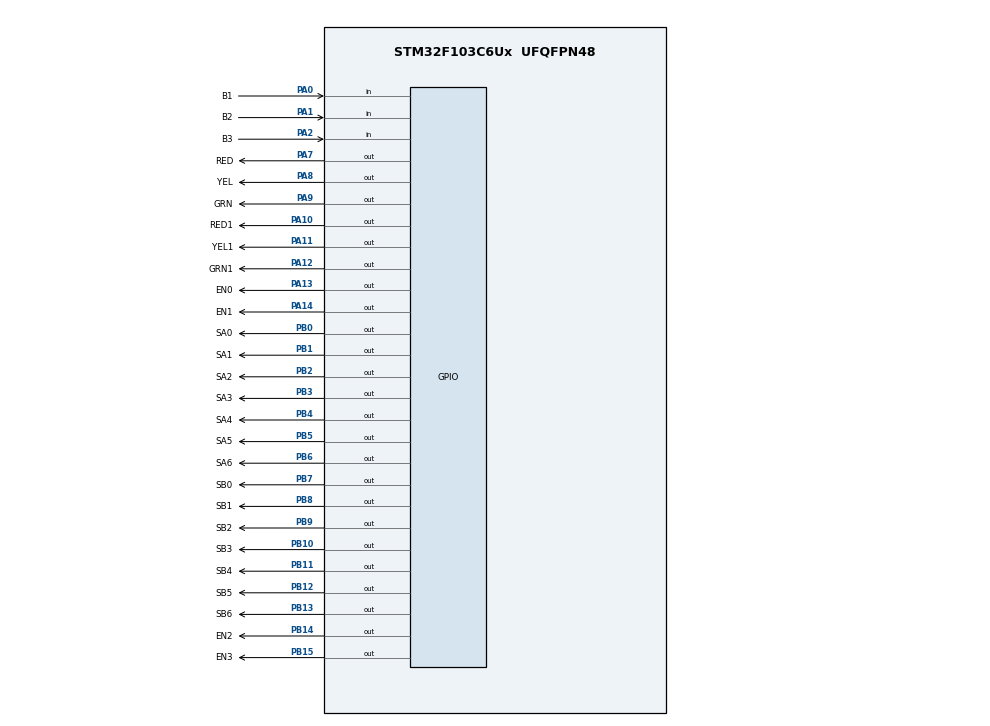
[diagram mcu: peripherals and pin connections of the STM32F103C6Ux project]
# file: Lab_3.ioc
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Mcu.Family=STM32F1
Mcu.Name=STM32F103C6Ux
Mcu.Package=UFQFPN48
NVIC.PriorityGroup=NVIC_PRIORITYGROUP_4
NVIC.TIM2_IRQn=true\:0\:0\:false\:false\:true\:true\:true
PA0-WKUP.GPIO_Label=B1
PA0-WKUP.Signal=GPIO_Input
PA1.GPIO_Label=B2
PA1.Signal=GPIO_Input
PA10.GPIO_Label=RED1
PA10.Signal=GPIO_Output
PA11.GPIO_Label=YEL1
PA11.Signal=GPIO_Output
PA12.GPIO_Label=GRN1
PA12.Signal=GPIO_Output
PA13.GPIO_Label=EN0
PA13.Signal=GPIO_Output
PA14.GPIO_Label=EN1
PA14.Signal=GPIO_Output
PA2.GPIO_Label=B3
PA2.Signal=GPIO_Input
PA7.GPIO_Label=RED
PA7.Signal=GPIO_Output
PA8.GPIO_Label=YEL
PA8.Signal=GPIO_Output
PA9.GPIO_Label=GRN
PA9.Signal=GPIO_Output
PB0.GPIO_Label=SA0
PB0.Signal=GPIO_Output
PB1.GPIO_Label=SA1
PB1.Signal=GPIO_Output
PB10.GPIO_Label=SB3
PB10.Signal=GPIO_Output
PB11.GPIO_Label=SB4
PB11.Signal=GPIO_Output
PB12.GPIO_Label=SB5
PB12.Signal=GPIO_Output
PB13.GPIO_Label=SB6
PB13.Signal=GPIO_Output
PB14.GPIO_Label=EN2
PB14.Signal=GPIO_Output
PB15.GPIO_Label=EN3
PB15.Signal=GPIO_Output
PB2.GPIO_Label=SA2
PB2.Signal=GPIO_Output
PB3.GPIO_Label=SA3
PB3.Signal=GPIO_Output
PB4.GPIO_Label=SA4
PB4.Signal=GPIO_Output
PB5.GPIO_Label=SA5
PB5.Signal=GPIO_Output
PB6.GPIO_Label=SA6
PB6.Signal=GPIO_Output
PB7.GPIO_Label=SB0
PB7.Signal=GPIO_Output
PB8.GPIO_Label=SB1
PB8.Signal=GPIO_Output
PB9.GPIO_Label=SB2
PB9.Signal=GPIO_Output
ProjectManager.HeapSize=0x200
ProjectManager.StackSize=0x400
ProjectManager.TargetToolchain=STM32CubeIDE
RCC.APB1Freq_Value=8000000
RCC.APB2Freq_Value=8000000
TIM2.Period=9
TIM2.Prescaler=7999
VP_SYS_VS_ND.Mode=No_Debug
VP_TIM2_VS_ClockSourceINT.Mode=Internal
board=custom

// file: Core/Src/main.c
/* USER CODE BEGIN Header */
/**
  ******************************************************************************
  * @file           : main.c
  * @brief          : Main program body
  ******************************************************************************
  * @attention
  *
  * <h2><center>&copy; Copyright (c) 2026 STMicroelectronics.
  * All rights reserved.</center></h2>
  *
  * This software component is licensed by ST under BSD 3-Clause license,
  * the "License"; You may not use this file except in compliance with the
  * License. You may obtain a copy of the License at:
  *                        opensource.org/licenses/BSD-3-Clause
  *
  ******************************************************************************
  */
/* USER CODE END Header */
#include "main.h"

TIM_HandleTypeDef htim2;

void SystemClock_Config(void);
static void MX_GPIO_Init(void);
static void MX_TIM2_Init(void);

/* USER CODE BEGIN 0 */
/* =====================================================================
 * 1. SOFTWARE TIMER
 *    TIMER_CYCLE = chu ky ngat TIM2 (ms). Bai 4: doi ngat chi sua dong nay.
 * ===================================================================== */
#define TIMER_CYCLE  10

#define NUM_TIMERS   4
#define TMR_SECOND   0   /* dem giay o mode 1        */
#define TMR_SCAN     1   /* quet LED 7 doan          */
#define TMR_BLINK    2   /* nhay den 2 Hz o mode 2-4 */
#define TMR_REPEAT   3   /* tu tang khi giu nut 2    */

volatile int timer_counter[NUM_TIMERS];
volatile int timer_flag[NUM_TIMERS];

void setTimer(int id, int duration) {        /* duration tinh bang ms */
    int ticks = duration / TIMER_CYCLE;
    if (ticks < 1) ticks = 1;
    timer_counter[id] = ticks;
    timer_flag[id] = 0;
}

int isTimerExpired(int id) {
    return timer_flag[id];
}

void timerRun(void) {
    for (int i = 0; i < NUM_TIMERS; i++) {
        if (timer_counter[i] > 0) {
            timer_counter[i]--;
            if (timer_counter[i] == 0) timer_flag[i] = 1;
        }
    }
}

/* =====================================================================
 * 2. DOC NUT NHAN + CHONG DOI PHIM
 *    Nut noi GND, co pull-up 10k ngoai: nhan = 0
 * ===================================================================== */
#define NUM_BUTTONS      3
#define BTN_MODE         0   /* B1 - PA0: doi mode     */
#define BTN_INC          1   /* B2 - PA1: tang gia tri */
#define BTN_SET          2   /* B3 - PA2: luu gia tri  */

#define PRESSED          GPIO_PIN_RESET
#define RELEASED         GPIO_PIN_SET
#define LONG_PRESS_TIME  (1000 / TIMER_CYCLE)   /* 1 giay */

GPIO_TypeDef *btnPort[NUM_BUTTONS] = { B1_GPIO_Port, B2_GPIO_Port, B3_GPIO_Port };
uint16_t      btnPin[NUM_BUTTONS]  = { B1_Pin,       B2_Pin,       B3_Pin };

GPIO_PinState keyReg0[NUM_BUTTONS]     = { RELEASED, RELEASED, RELEASED };
GPIO_PinState keyReg1[NUM_BUTTONS]     = { RELEASED, RELEASED, RELEASED };
GPIO_PinState keyReg2[NUM_BUTTONS]     = { RELEASED, RELEASED, RELEASED };
GPIO_PinState stableState[NUM_BUTTONS] = { RELEASED, RELEASED, RELEASED };

int          pressCounter[NUM_BUTTONS];
volatile int pressFlag[NUM_BUTTONS];
volatile int longFlag[NUM_BUTTONS];

void button_reading(void) {                  /* goi trong ISR moi 10 ms */
    for (int i = 0; i < NUM_BUTTONS; i++) {
        keyReg2[i] = keyReg1[i];
        keyReg1[i] = keyReg0[i];
        keyReg0[i] = HAL_GPIO_ReadPin(btnPort[i], btnPin[i]);

        /* chi tin khi 3 lan doc lien tiep giong nhau */
        if (keyReg0[i] == keyReg1[i] && keyReg1[i] == keyReg2[i]) {
            if (keyReg2[i] != stableState[i]) {          /* vua doi trang thai */
                stableState[i] = keyReg2[i];
                if (stableState[i] == PRESSED) {
                    pressFlag[i] = 1;
                    pressCounter[i] = LONG_PRESS_TIME;
                } else {
                    longFlag[i] = 0;
                }
            } else if (stableState[i] == PRESSED && pressCounter[i] > 0) {
                pressCounter[i]--;                       /* dang giu nut */
                if (pressCounter[i] == 0) longFlag[i] = 1;
            }
        }
    }
}

int isButtonPressed(int index) {             /* tra 1 dung MOT lan moi lan nhan */
    if (pressFlag[index] == 1) {
        pressFlag[index] = 0;
        return 1;
    }
    return 0;
}

int isButtonLongPressed(int index) {         /* = 1 khi dang giu qua 1 giay */
    return longFlag[index];
}

/* =====================================================================
 * 3. HIEN THI: LED 7 DOAN (anode chung, PNP) + DEN GIAO THONG
 * ===================================================================== */
#define LIGHT_OFF     0
#define LIGHT_RED     1
#define LIGHT_GREEN   2
#define LIGHT_YELLOW  3

/* 1 = doan sang. Thu tu cot: a b c d e f g */
const int digit[10][7] = {
    {1,1,1,1,1,1,0},  /* 0 */
    {0,1,1,0,0,0,0},  /* 1 */
    {1,1,0,1,1,0,1},  /* 2 */
    {1,1,1,1,0,0,1},  /* 3 */
    {0,1,1,0,0,1,1},  /* 4 */
    {1,0,1,1,0,1,1},  /* 5 */
    {1,0,1,1,1,1,1},  /* 6 */
    {1,1,1,0,0,0,0},  /* 7 */
    {1,1,1,1,1,1,1},  /* 8 */
    {1,1,1,1,0,1,1}   /* 9 */
};

const uint16_t segA[7] = { SA0_Pin, SA1_Pin, SA2_Pin, SA3_Pin, SA4_Pin, SA5_Pin, SA6_Pin };
const uint16_t segB[7] = { SB0_Pin, SB1_Pin, SB2_Pin, SB3_Pin, SB4_Pin, SB5_Pin, SB6_Pin };

int bufA[2] = {0, 0};      /* cap A: EN0, EN1 */
int bufB[2] = {0, 0};      /* cap B: EN2, EN3 */
int scanIndex = 0;

void writeDigit(const uint16_t seg[7], int num) {      /* RESET = doan sang */
    for (int i = 0; i < 7; i++) {
        HAL_GPIO_WritePin(GPIOB, seg[i], digit[num][i] ? GPIO_PIN_RESET : GPIO_PIN_SET);
    }
}

void setBufferA(int num) { bufA[0] = num / 10; bufA[1] = num % 10; }
void setBufferB(int num) { bufB[0] = num / 10; bufB[1] = num % 10; }

/* Hai cap quet song song. PNP: EN = 0 la sang */
void scan7SEG(void) {
    HAL_GPIO_WritePin(GPIOA, EN0_Pin | EN1_Pin, GPIO_PIN_SET);   /* 1. tat het */
    HAL_GPIO_WritePin(GPIOB, EN2_Pin | EN3_Pin, GPIO_PIN_SET);

    writeDigit(segA, bufA[scanIndex]);                           /* 2. xuat so */
    writeDigit(segB, bufB[scanIndex]);

    if (scanIndex == 0) {                                        /* 3. bat LED */
        HAL_GPIO_WritePin(EN0_GPIO_Port, EN0_Pin, GPIO_PIN_RESET);
        HAL_GPIO_WritePin(EN2_GPIO_Port, EN2_Pin, GPIO_PIN_RESET);
    } else {
        HAL_GPIO_WritePin(EN1_GPIO_Port, EN1_Pin, GPIO_PIN_RESET);
        HAL_GPIO_WritePin(EN3_GPIO_Port, EN3_Pin, GPIO_PIN_RESET);
    }
    scanIndex = 1 - scanIndex;
}

/* Den giao thong: cathode xuong GND -> SET = sang */
void setLightHor(int color) {
    HAL_GPIO_WritePin(RED_GPIO_Port, RED_Pin, (color == LIGHT_RED)    ? GPIO_PIN_SET : GPIO_PIN_RESET);
    HAL_GPIO_WritePin(YEL_GPIO_Port, YEL_Pin, (color == LIGHT_YELLOW) ? GPIO_PIN_SET : GPIO_PIN_RESET);
    HAL_GPIO_WritePin(GRN_GPIO_Port, GRN_Pin, (color == LIGHT_GREEN)  ? GPIO_PIN_SET : GPIO_PIN_RESET);
}

void setLightVer(int color) {
    HAL_GPIO_WritePin(RED1_GPIO_Port, RED1_Pin, (color == LIGHT_RED)    ? GPIO_PIN_SET : GPIO_PIN_RESET);
    HAL_GPIO_WritePin(YEL1_GPIO_Port, YEL1_Pin, (color == LIGHT_YELLOW) ? GPIO_PIN_SET : GPIO_PIN_RESET);
    HAL_GPIO_WritePin(GRN1_GPIO_Port, GRN1_Pin, (color == LIGHT_GREEN)  ? GPIO_PIN_SET : GPIO_PIN_RESET);
}

void toggleColor(int color) {               /* nhay 1 mau o ca hai huong */
    if (color == LIGHT_RED)    HAL_GPIO_TogglePin(GPIOA, RED_Pin | RED1_Pin);
    if (color == LIGHT_YELLOW) HAL_GPIO_TogglePin(GPIOA, YEL_Pin | YEL1_Pin);
    if (color == LIGHT_GREEN)  HAL_GPIO_TogglePin(GPIOA, GRN_Pin | GRN1_Pin);
}

/* =====================================================================
 * 4. FSM (theo so do: Automatic mode / Manual mode)
 * ===================================================================== */
#define INIT        0
#define AUTO        1   /* Mode 1 */
#define MAN_RED     2   /* Mode 2 */
#define MAN_YELLOW  3   /* Mode 3 */
#define MAN_GREEN   4   /* Mode 4 */

int status = INIT;
int statusHor, statusVer;        /* mau hien tai cua 2 huong */
int countHor, countVer;          /* so giay con lai           */
int durRed = 5, durYellow = 2, durGreen = 3;   /* luon giu DO = XANH + VANG */
int tempValue = 0;               /* gia tri dang chinh o mode 2-4 */

int nextColor(int color) {       /* RED -> GREEN -> YELLOW -> RED */
    if (color == LIGHT_RED)   return LIGHT_GREEN;
    if (color == LIGHT_GREEN) return LIGHT_YELLOW;
    return LIGHT_RED;
}

int durationOf(int color) {
    if (color == LIGHT_RED)   return durRed;
    if (color == LIGHT_GREEN) return durGreen;
    return durYellow;
}

int colorOfMode(int mode) {
    if (mode == MAN_RED)    return LIGHT_RED;
    if (mode == MAN_YELLOW) return LIGHT_YELLOW;
    return LIGHT_GREEN;
}

/* Luu gia tri moi, giu DO = XANH + VANG de 2 huong khong cung xanh */
void saveDuration(int color, int value) {
    if (color == LIGHT_RED) {
        if (value < 2) value = 2;
        durRed = value;
        durGreen = durRed - durYellow;               /* sua XANH cho khop */
        if (durGreen < 1) { durGreen = 1; durYellow = durRed - 1; }
    } else {
        if (color == LIGHT_YELLOW) durYellow = value;
        else                       durGreen  = value;
        durRed = durGreen + durYellow;               /* sua DO cho khop */
        if (durRed > 99) {
            durRed = 99;
            if (color == LIGHT_YELLOW) durGreen  = 99 - durYellow;
            else                       durYellow = 99 - durGreen;
        }
    }
}

void enterAuto(void) {
    status = AUTO;
    statusHor = LIGHT_RED;    countHor = durRed;     /* Init (Hor) -> RED   */
    statusVer = LIGHT_GREEN;  countVer = durGreen;   /* Init (Ver) -> GREEN */
    setLightHor(statusHor);
    setLightVer(statusVer);
    setBufferA(countHor);
    setBufferB(countVer);
    setTimer(TMR_SECOND, 1000);
}

void enterManual(int mode) {
    status = mode;
    setLightHor(LIGHT_OFF);
    setLightVer(LIGHT_OFF);
    tempValue = durationOf(colorOfMode(mode));
    setBufferA(tempValue);       /* cap A: gia tri dang chinh  */
    setBufferB(mode);            /* cap B: so mode 02, 03, 04  */
    setTimer(TMR_BLINK, 250);    /* dao moi 250 ms -> nhay 2 Hz */
}

void increaseValue(void) {
    tempValue++;
    if (tempValue > 99) tempValue = 1;
    setBufferA(tempValue);
}

void fsm_run(void) {
    switch (status) {
    case INIT:
        setTimer(TMR_SCAN, 10);
        enterAuto();
        break;

    case AUTO:
        if (isTimerExpired(TMR_SECOND)) {
            setTimer(TMR_SECOND, 1000);
            countHor--;
            if (countHor <= 0) { statusHor = nextColor(statusHor); countHor = durationOf(statusHor); }
            countVer--;
            if (countVer <= 0) { statusVer = nextColor(statusVer); countVer = durationOf(statusVer); }
            setLightHor(statusHor);
            setLightVer(statusVer);
            setBufferA(countHor);
            setBufferB(countVer);
        }
        isButtonPressed(BTN_INC);            /* bo qua nut 2, 3 o mode 1 */
        isButtonPressed(BTN_SET);
        if (isButtonPressed(BTN_MODE)) enterManual(MAN_RED);
        break;

    case MAN_RED:
    case MAN_YELLOW:
    case MAN_GREEN:
        if (isTimerExpired(TMR_BLINK)) {
            setTimer(TMR_BLINK, 250);
            toggleColor(colorOfMode(status));
        }
        /* nut 2: nhan +1, giu qua 1 s tu +1 moi 200 ms */
        if (isButtonPressed(BTN_INC)) {
            increaseValue();
            setTimer(TMR_REPEAT, 200);
        }
        if (isButtonLongPressed(BTN_INC) && isTimerExpired(TMR_REPEAT)) {
            increaseValue();
            setTimer(TMR_REPEAT, 200);
        }
        /* nut 3: luu gia tri */
        if (isButtonPressed(BTN_SET)) {
            saveDuration(colorOfMode(status), tempValue);
            tempValue = durationOf(colorOfMode(status));
            setBufferA(tempValue);
        }
        /* nut 1: MAN_RED -> MAN_YELLOW -> MAN_GREEN -> Automatic */
        if (isButtonPressed(BTN_MODE)) {
            if (status == MAN_GREEN) enterAuto();
            else                     enterManual(status + 1);
        }
        break;
    }

    /* quet 7 doan moi 10 ms: 2 LED moi cap -> 50 Hz */
    if (isTimerExpired(TMR_SCAN)) {
        setTimer(TMR_SCAN, 10);
        scan7SEG();
    }
}
/* USER CODE END 0 */

int main(void)
{

  /* MCU Configuration--------------------------------------------------------*/

  /* Reset of all peripherals, Initializes the Flash interface and the Systick. */
  HAL_Init();

  /* Configure the system clock */
  SystemClock_Config();

  /* Initialize all configured peripherals */
  MX_GPIO_Init();
  MX_TIM2_Init();
  /* USER CODE BEGIN 2 */
  /* tat het 7 doan luc khoi dong (CubeMX dang de muc dau = RESET) */
  HAL_GPIO_WritePin(GPIOA, EN0_Pin | EN1_Pin, GPIO_PIN_SET);
  HAL_GPIO_WritePin(GPIOB, EN2_Pin | EN3_Pin, GPIO_PIN_SET);
  HAL_TIM_Base_Start_IT(&htim2);
  /* USER CODE END 2 */

  /* Infinite loop */
  while (1)
  {

    /* USER CODE BEGIN 3 */
    fsm_run();
  }
  /* USER CODE END 3 */
}

void SystemClock_Config(void)
{
  RCC_OscInitTypeDef RCC_OscInitStruct = {0};
  RCC_ClkInitTypeDef RCC_ClkInitStruct = {0};

  /** Initializes the RCC Oscillators according to the specified parameters
  * in the RCC_OscInitTypeDef structure.
  */
  RCC_OscInitStruct.OscillatorType = RCC_OSCILLATORTYPE_HSI;
  RCC_OscInitStruct.HSIState = RCC_HSI_ON;
  RCC_OscInitStruct.HSICalibrationValue = RCC_HSICALIBRATION_DEFAULT;
  RCC_OscInitStruct.PLL.PLLState = RCC_PLL_NONE;
  if (HAL_RCC_OscConfig(&RCC_OscInitStruct) != HAL_OK)
  {
    Error_Handler();
  }
  /** Initializes the CPU, AHB and APB buses clocks
  */
  RCC_ClkInitStruct.ClockType = RCC_CLOCKTYPE_HCLK|RCC_CLOCKTYPE_SYSCLK
                              |RCC_CLOCKTYPE_PCLK1|RCC_CLOCKTYPE_PCLK2;
  RCC_ClkInitStruct.SYSCLKSource = RCC_SYSCLKSOURCE_HSI;
  RCC_ClkInitStruct.AHBCLKDivider = RCC_SYSCLK_DIV1;
  RCC_ClkInitStruct.APB1CLKDivider = RCC_HCLK_DIV1;
  RCC_ClkInitStruct.APB2CLKDivider = RCC_HCLK_DIV1;

  if (HAL_RCC_ClockConfig(&RCC_ClkInitStruct, FLASH_LATENCY_0) != HAL_OK)
  {
    Error_Handler();
  }
}

static void MX_TIM2_Init(void)
{

  TIM_ClockConfigTypeDef sClockSourceConfig = {0};
  TIM_MasterConfigTypeDef sMasterConfig = {0};

  htim2.Instance = TIM2;
  htim2.Init.Prescaler = 7999;
  htim2.Init.CounterMode = TIM_COUNTERMODE_UP;
  htim2.Init.Period = 9;
  htim2.Init.ClockDivision = TIM_CLOCKDIVISION_DIV1;
  htim2.Init.AutoReloadPreload = TIM_AUTORELOAD_PRELOAD_DISABLE;
  if (HAL_TIM_Base_Init(&htim2) != HAL_OK)
  {
    Error_Handler();
  }
  sClockSourceConfig.ClockSource = TIM_CLOCKSOURCE_INTERNAL;
  if (HAL_TIM_ConfigClockSource(&htim2, &sClockSourceConfig) != HAL_OK)
  {
    Error_Handler();
  }
  sMasterConfig.MasterOutputTrigger = TIM_TRGO_RESET;
  sMasterConfig.MasterSlaveMode = TIM_MASTERSLAVEMODE_DISABLE;
  if (HAL_TIMEx_MasterConfigSynchronization(&htim2, &sMasterConfig) != HAL_OK)
  {
    Error_Handler();
  }

}

static void MX_GPIO_Init(void)
{
  GPIO_InitTypeDef GPIO_InitStruct = {0};

  /* GPIO Ports Clock Enable */
  __HAL_RCC_GPIOA_CLK_ENABLE();
  __HAL_RCC_GPIOB_CLK_ENABLE();

  /*Configure GPIO pin Output Level */
  HAL_GPIO_WritePin(GPIOA, RED_Pin|YEL_Pin|GRN_Pin|RED1_Pin
                          |YEL1_Pin|GRN1_Pin|EN0_Pin|EN1_Pin, GPIO_PIN_RESET);

  /*Configure GPIO pin Output Level */
  HAL_GPIO_WritePin(GPIOB, SA0_Pin|SA1_Pin|SA2_Pin|SB3_Pin
                          |SB4_Pin|SB5_Pin|SB6_Pin|EN2_Pin
                          |EN3_Pin|SA3_Pin|SA4_Pin|SA5_Pin
                          |SA6_Pin|SB0_Pin|SB1_Pin|SB2_Pin, GPIO_PIN_RESET);

  /*Configure GPIO pins : B1_Pin B2_Pin B3_Pin */
  GPIO_InitStruct.Pin = B1_Pin|B2_Pin|B3_Pin;
  GPIO_InitStruct.Mode = GPIO_MODE_INPUT;
  GPIO_InitStruct.Pull = GPIO_NOPULL;
  HAL_GPIO_Init(GPIOA, &GPIO_InitStruct);

  /*Configure GPIO pins : RED_Pin YEL_Pin GRN_Pin RED1_Pin
                           YEL1_Pin GRN1_Pin EN0_Pin EN1_Pin */
  GPIO_InitStruct.Pin = RED_Pin|YEL_Pin|GRN_Pin|RED1_Pin
                          |YEL1_Pin|GRN1_Pin|EN0_Pin|EN1_Pin;
  GPIO_InitStruct.Mode = GPIO_MODE_OUTPUT_PP;
  GPIO_InitStruct.Pull = GPIO_NOPULL;
  GPIO_InitStruct.Speed = GPIO_SPEED_FREQ_LOW;
  HAL_GPIO_Init(GPIOA, &GPIO_InitStruct);

  /*Configure GPIO pins : SA0_Pin SA1_Pin SA2_Pin SB3_Pin
                           SB4_Pin SB5_Pin SB6_Pin EN2_Pin
                           EN3_Pin SA3_Pin SA4_Pin SA5_Pin
                           SA6_Pin SB0_Pin SB1_Pin SB2_Pin */
  GPIO_InitStruct.Pin = SA0_Pin|SA1_Pin|SA2_Pin|SB3_Pin
                          |SB4_Pin|SB5_Pin|SB6_Pin|EN2_Pin
                          |EN3_Pin|SA3_Pin|SA4_Pin|SA5_Pin
                          |SA6_Pin|SB0_Pin|SB1_Pin|SB2_Pin;
  GPIO_InitStruct.Mode = GPIO_MODE_OUTPUT_PP;
  GPIO_InitStruct.Pull = GPIO_NOPULL;
  GPIO_InitStruct.Speed = GPIO_SPEED_FREQ_LOW;
  HAL_GPIO_Init(GPIOB, &GPIO_InitStruct);

}

/* USER CODE BEGIN 4 */
/* ISR: chi doc nut va dem software timer, moi viec khac lam trong while(1) */
void HAL_TIM_PeriodElapsedCallback(TIM_HandleTypeDef *htim)
{
  if (htim->Instance == TIM2) {
    button_reading();
    timerRun();
  }
}
/* USER CODE END 4 */

void Error_Handler(void)
{
  __disable_irq();
  while (1)
  {
  }
}

/************************ (C) COPYRIGHT STMicroelectronics *****END OF FILE****/
